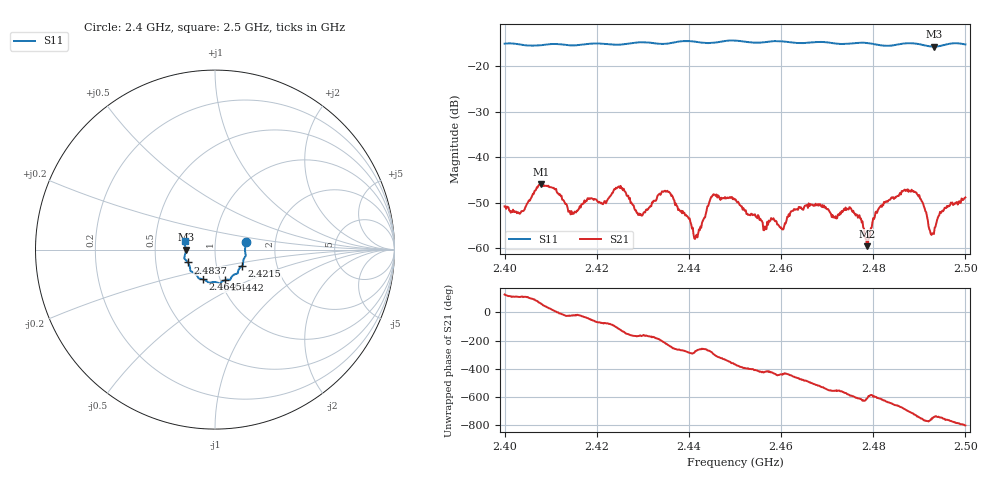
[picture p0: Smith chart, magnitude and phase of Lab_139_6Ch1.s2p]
# Hz S RI R 50
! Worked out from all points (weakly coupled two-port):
!   601 points, 2.4 GHz to 2.5 GHz, reference 50 ohm
!   highest |S21| = -45.90 dB at 2.408 GHz (marker M1); lowest = -59.6 dB at 2.4787 GHz (marker M2)
!   lowest |S11| = -15.7 dB at 2.4932 GHz (marker M3), VSWR 1.39, Z = 36 - j0.0545 ohm
!   |S11| at or under -10 dB: start of sweep to end of sweep
!   S12 and S22 are empty: the file has one direction only
!   S11 on the Smith chart (normalised r, x): 2.4 GHz: 1.41, +0.12; 2.4215 GHz: 1.33, -0.25; 2.4442 GHz: 1.05, -0.37; 2.4645 GHz: 0.83, -0.29; 2.4837 GHz: 0.73, -0.11; 2.5 GHz: 0.71, +0.07
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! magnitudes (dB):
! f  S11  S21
! 2.4 GHz  -15.1  -50.8
! 2.4037 GHz  -15.3  -51.9
! 2.408 GHz  -15.4  -45.9
! 2.4167 GHz  -15.3  -50.4
! 2.4215 GHz  -15.1  -50.1
! 2.425 GHz  -15.3  -46.8
! 2.4295 GHz  -14.8  -52.5
! 2.4333 GHz  -15.1  -48.3
! 2.4358 GHz  -15.0  -47.8
! 2.4415 GHz  -14.7  -57.4
! 2.4442 GHz  -15.0  -50.8
! 2.45 GHz  -14.4  -49.2
! 2.4567 GHz  -14.7  -55.8
! 2.4645 GHz  -15.0  -51.4
! 2.4667 GHz  -14.8  -50.5
! 2.4752 GHz  -15.1  -51.3
! 2.4787 GHz  -14.9  -59.6
! 2.4833 GHz  -15.6  -49.5
! 2.4837 GHz  -15.5  -49.3
! 2.4888 GHz  -15.0  -47.7
! 2.4932 GHz  -15.7  -56.9
! 2.5 GHz  -15.2  -48.9
